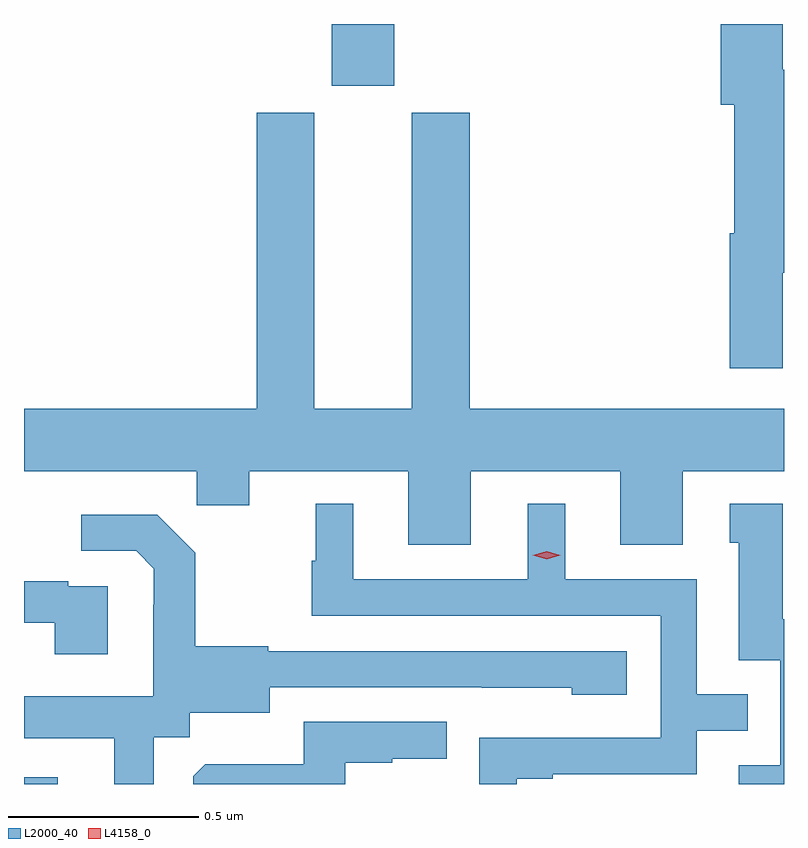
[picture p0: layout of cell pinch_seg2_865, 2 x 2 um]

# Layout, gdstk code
import gdstk
lib = gdstk.Library(unit=1e-6, precision=1e-09)
def R(c, l, rs):  # rectangles x0, y0, x1, y1
    for r in rs: c.add(gdstk.rectangle(r[:2], r[2:], *l))
def P(c, l, *ps):  # polygons
    for p in ps: c.add(gdstk.Polygon(p, *l))
L2000_40 = (2000, 40)
L4158_0 = (4158, 0)

pinch_seg2_865 = lib.new_cell('pinch_seg2_865')
R(pinch_seg2_865, L2000_40, [(814.214,617.509,814.303,617.527), (815.024,619.347,815.188,619.509)])
P(pinch_seg2_865, L2000_40, [(816.211,618.854),(816.214,618.854),(816.214,619.389),(816.211,619.389),(816.211,619.509),(816.047,619.509),(816.047,619.296),(816.083,619.296),(816.083,618.958),(816.071,618.958),(816.071,618.603),(816.211,618.603)],
  [(815.389,618.332),(815.783,618.332),(815.783,618.138),(815.947,618.138),(815.947,618.332),(816.214,618.332),(816.214,618.496),(815.387,618.496),(815.387,619.275),(815.234,619.275),(815.234,618.496),(814.978,618.496),(814.978,619.275),(814.826,619.275),(814.826,618.496),(814.214,618.496),(814.214,618.332),(814.669,618.332),(814.669,618.242),(814.807,618.242),(814.807,618.332),(815.225,618.332),(815.225,618.138),(815.389,618.138)],
  [(815.511,617.523),(815.605,617.523),(815.605,617.535),(815.985,617.535),(815.985,617.649),(816.119,617.649),(816.119,617.745),(815.985,617.745),(815.985,618.048),(815.638,618.048),(815.638,618.247),(815.54,618.247),(815.54,618.048),(815.08,618.048),(815.08,618.247),(814.982,618.247),(814.982,618.096),(814.971,618.096),(814.971,617.952),(815.889,617.952),(815.889,617.631),(815.412,617.631),(815.412,617.509),(815.511,617.509)],
  [(816.214,617.943),(816.211,617.943),(816.211,618.247),(816.071,618.247),(816.071,618.144),(816.095,618.144),(816.095,617.835),(816.204,617.835),(816.204,617.559),(816.095,617.559),(816.095,617.509),(816.214,617.509)],
  [(814.555,617.632),(814.65,617.632),(814.65,617.696),(814.861,617.696),(814.861,617.763),(815.419,617.763),(815.419,617.762),(815.655,617.762),(815.655,617.744),(815.8,617.744),(815.8,617.859),(814.857,617.859),(814.857,617.872),(814.665,617.872),(814.665,618.117),(814.565,618.217),(814.365,618.217),(814.365,618.123),(814.509,618.123),(814.556,618.076),(814.556,617.981),(814.554,617.981),(814.554,617.74),(814.214,617.74),(814.214,617.63),(814.451,617.63),(814.451,617.509),(814.555,617.509)],
  [(814.435,618.03),(814.331,618.03),(814.331,618.043),(814.214,618.043),(814.214,617.934),(814.295,617.934),(814.295,617.85),(814.435,617.85)],
  [(815.06,617.565),(815.183,617.565),(815.183,617.576),(815.327,617.576),(815.327,617.673),(814.95,617.673),(814.95,617.561),(814.691,617.561),(814.659,617.529),(814.659,617.509),(815.06,617.509)])
P(pinch_seg2_865, L4158_0, [(815.589,618.101),(815.553,618.111),(815.553,618.111),(815.553,618.111),(815.589,618.121),(815.625,618.111),(815.625,618.111),(815.625,618.111)])

lib.write_gds('pinch_seg2_865.gds')
